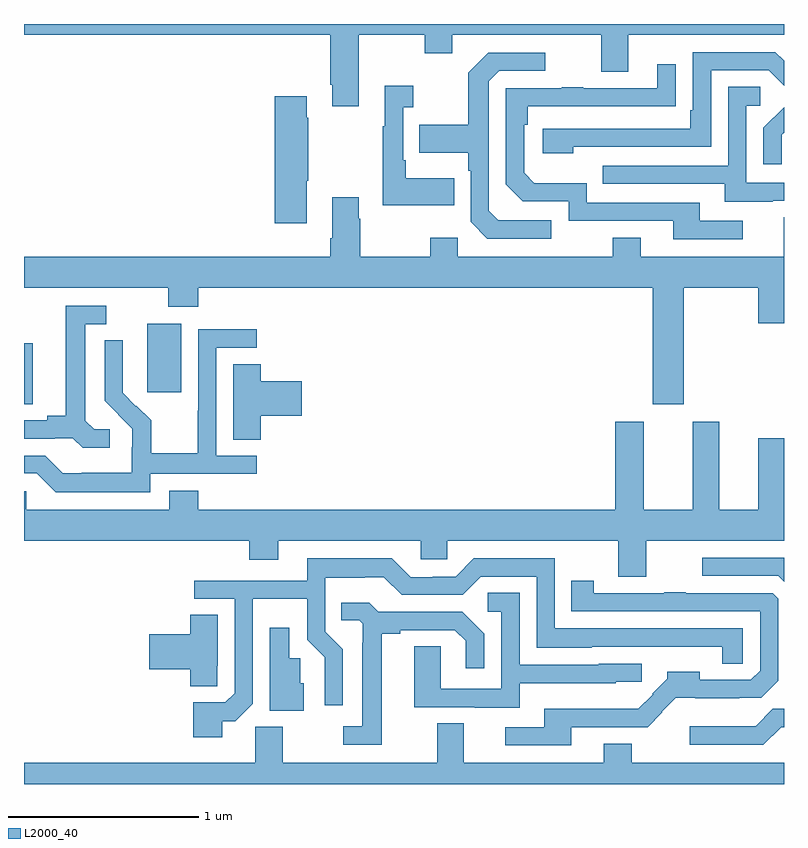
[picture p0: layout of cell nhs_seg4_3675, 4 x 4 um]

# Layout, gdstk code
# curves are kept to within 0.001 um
import gdstk
lib = gdstk.Library(unit=1e-6, precision=1e-09)
def R(c, l, rs):  # rectangles x0, y0, x1, y1
    for r in rs: c.add(gdstk.rectangle(r[:2], r[2:], *l))
def P(c, l, *ps):  # polygons
    for p in ps: c.add(gdstk.Polygon(p, *l))
L2000_40 = (2000, 40)

nhs_seg4_3675 = lib.new_cell('nhs_seg4_3675')
R(nhs_seg4_3675, L2000_40, [(305,770.899,305.047,771.219), (305.648,770.961,305.827,771.322)])
P(nhs_seg4_3675, L2000_40, [(305,772.844),(306.611,772.844),(306.611,772.579),(306.623,772.579),(306.623,772.467),(306.763,772.467),(306.763,772.844),(307.108,772.844),(307.108,772.745),(307.255,772.745),(307.255,772.844),(308.039,772.844),(308.039,772.65),(308.179,772.65),(308.179,772.844),(309,772.844),(309,772.9),(305,772.9)],
  [(307.892,772.254),(308.616,772.254),(308.616,772.656),(308.919,772.656),(309,772.575),(309,772.707),(308.955,772.752),(308.52,772.752),(308.52,772.447),(308.507,772.447),(308.507,772.35),(307.731,772.35),(307.731,772.22),(307.892,772.22)],
  [(307.774,771.867),(307.497,771.867),(307.446,771.918),(307.446,772.599),(307.5,772.653),(307.744,772.653),(307.744,772.749),(307.443,772.749),(307.338,772.643),(307.338,772.371),(307.081,772.371),(307.081,772.223),(307.338,772.223),(307.338,772.127),(307.35,772.127),(307.35,771.858),(307.437,771.771),(307.774,771.771)],
  [(308.782,771.864),(308.557,771.864),(308.557,771.96),(307.962,771.96),(307.962,772.063),(307.685,772.063),(307.632,772.116),(307.632,772.37),(307.652,772.37),(307.652,772.467),(308.429,772.468),(308.429,772.687),(308.333,772.687),(308.333,772.563),(307.943,772.563),(307.943,772.568),(307.831,772.568),(307.831,772.563),(307.536,772.563),(307.536,772.056),(307.626,771.966),(307.866,771.966),(307.866,771.864),(308.417,771.864),(308.417,771.768),(308.782,771.768)],
  [(307.265,772.087),(307.009,772.087),(307.009,772.183),(306.996,772.183),(306.996,772.463),(307.048,772.463),(307.048,772.576),(306.899,772.576),(306.899,772.363),(306.888,772.363),(306.888,771.947),(307.265,771.947)],
  [(308.941,771.969),(309,771.969),(309,772.065),(308.802,772.065),(308.802,772.47),(308.875,772.47),(308.875,772.571),(308.706,772.571),(308.706,772.155),(308.047,772.155),(308.047,772.059),(308.687,772.059),(308.687,771.965),(308.941,771.965)],
  [(306.487,772.075),(306.495,772.075),(306.495,772.406),(306.487,772.406),(306.487,772.519),(306.32,772.519),(306.32,771.852),(306.487,771.852)],
  [(308.989,772.317),(309,772.328),(309,772.462),(308.892,772.354),(308.892,772.161),(308.989,772.161)],
  [(308.473,771.512),(308.864,771.512),(308.864,771.324),(309,771.324),(309,771.884),(308.999,771.884),(308.999,771.676),(308.245,771.676),(308.245,771.775),(308.098,771.775),(308.098,771.676),(307.284,771.676),(307.284,771.775),(307.138,771.775),(307.138,771.676),(306.771,771.676),(306.771,771.875),(306.763,771.875),(306.763,771.988),(306.623,771.988),(306.623,771.772),(306.611,771.772),(306.611,771.676),(305,771.676),(305,771.512),(305.758,771.512),(305.758,771.413),(305.918,771.413),(305.918,771.512),(308.309,771.512),(308.309,770.898),(308.473,770.898)],
  [(305.452,770.766),(305.37,770.766),(305.323,770.813),(305.323,771.321),(305.434,771.321),(305.434,771.417),(305.219,771.417),(305.219,770.837),(305.123,770.837),(305.123,770.814),(305,770.814),(305,770.718),(305.162,770.718),(305.162,770.721),(305.256,770.721),(305.308,770.669),(305.452,770.669)],
  [(305.664,770.532),(306.226,770.532),(306.226,770.628),(306.012,770.628),(306.012,771.195),(306.226,771.195),(306.226,771.294),(305.916,771.294),(305.916,770.864),(305.914,770.864),(305.914,770.641),(305.669,770.641),(305.669,770.815),(305.592,770.892),(305.589,770.889),(305.519,770.96),(305.52,771.236),(305.424,771.236),(305.424,770.918),(305.57,770.77),(305.57,770.673),(305.568,770.673),(305.568,770.539),(305.305,770.539),(305.305,770.535),(305.205,770.535),(305.112,770.628),(305,770.628),(305,770.535),(305.067,770.535),(305.167,770.435),(305.664,770.435)],
  [(306.245,770.837),(306.463,770.837),(306.463,771.02),(306.245,771.02),(306.245,771.11),(306.101,771.11),(306.101,770.713),(306.245,770.713)],
  [(308.275,770.18),(309,770.18),(309,770.719),(308.864,770.719),(308.864,770.344),(308.659,770.344),(308.659,770.806),(308.519,770.806),(308.519,770.344),(308.263,770.344),(308.263,770.806),(308.111,770.806),(308.111,770.344),(305.918,770.344),(305.918,770.443),(305.765,770.443),(305.765,770.344),(305.013,770.344),(305.013,770.442),(305,770.442),(305,770.18),(306.185,770.18),(306.185,770.081),(306.337,770.081),(306.337,770.18),(307.089,770.18),(307.089,770.082),(307.227,770.082),(307.227,770.18),(308.128,770.18),(308.128,769.99),(308.275,769.99)],
  [(309,770.091),(308.571,770.091),(308.571,769.995),(308.97,769.995),(309,769.965)],
  [(306.043,769.231),(306.111,769.231),(306.204,769.323),(306.204,769.874),(306.492,769.874),(306.492,769.658),(306.584,769.566),(306.584,769.314),(306.678,769.314),(306.678,769.608),(306.585,769.701),(306.585,769.985),(306.794,769.985),(306.794,769.989),(306.894,769.989),(306.987,769.896),(307.308,769.896),(307.404,769.992),(307.698,769.992),(307.698,769.616),(307.989,769.616),(307.989,769.623),(308.676,769.622),(308.676,769.534),(308.784,769.534),(308.784,769.719),(307.794,769.719),(307.794,770.088),(307.368,770.088),(307.272,769.992),(307.152,769.992),(307.152,769.989),(307.035,769.989),(306.935,770.089),(306.491,770.089),(306.491,769.971),(305.895,769.971),(305.895,769.875),(306.108,769.875),(306.108,769.377),(306.06,769.329),(305.891,769.329),(305.891,769.146),(306.043,769.146)],
  [(307.879,769.2),(308.283,769.2),(308.359,769.277),(308.357,769.279),(308.431,769.353),(308.765,769.352),(308.765,769.354),(308.881,769.354),(308.97,769.443),(308.97,769.875),(308.94,769.905),(308.483,769.905),(308.483,769.91),(308.371,769.91),(308.371,769.905),(307.998,769.905),(307.998,769.969),(307.879,769.969),(307.879,769.809),(308.874,769.809),(308.874,769.497),(308.826,769.449),(308.557,769.449),(308.557,769.492),(308.386,769.492),(308.386,769.453),(308.307,769.374),(308.31,769.371),(308.234,769.295),(308.132,769.295),(308.132,769.297),(307.739,769.297),(307.739,769.2),(307.533,769.2),(307.533,769.104),(307.879,769.104)],
  [(307.609,769.43),(308.115,769.43),(308.115,769.437),(308.25,769.437),(308.25,769.533),(308.025,769.533),(308.025,769.527),(307.608,769.527),(307.608,769.907),(307.44,769.907),(307.44,769.806),(307.512,769.806),(307.512,769.401),(307.194,769.401),(307.194,769.625),(307.055,769.625),(307.055,769.305),(307.373,769.305),(307.373,769.301),(307.609,769.301)],
  [(306.883,769.69),(306.979,769.69),(306.979,769.71),(307.268,769.71),(307.325,769.653),(307.325,769.509),(307.422,769.509),(307.422,769.69),(307.306,769.806),(306.864,769.806),(306.816,769.853),(306.67,769.853),(306.67,769.761),(306.765,769.761),(306.783,769.743),(306.783,769.643),(306.779,769.643),(306.779,769.203),(306.681,769.203),(306.681,769.107),(306.883,769.107)],
  [(306.018,769.522),(306.019,769.522),(306.019,769.79),(305.876,769.79),(305.876,769.688),(305.658,769.688),(305.658,769.505),(305.876,769.505),(305.876,769.414),(306.018,769.414)],
  [(306.472,769.431),(306.453,769.431),(306.453,769.563),(306.397,769.563),(306.397,769.723),(306.293,769.723),(306.293,769.286),(306.472,769.286)],
  [(308.985,769.2),(309,769.2),(309,769.295),(308.942,769.295),(308.851,769.204),(308.505,769.204),(308.505,769.107),(308.892,769.107)],
  [(309,769.012),(308.199,769.012),(308.199,769.111),(308.051,769.111),(308.051,769.012),(307.315,769.012),(307.315,769.22),(307.175,769.22),(307.175,769.012),(306.363,769.012),(306.363,769.201),(306.216,769.201),(306.216,769.012),(305,769.012),(305,768.9),(309,768.9)])

lib.write_gds('nhs_seg4_3675.gds')
